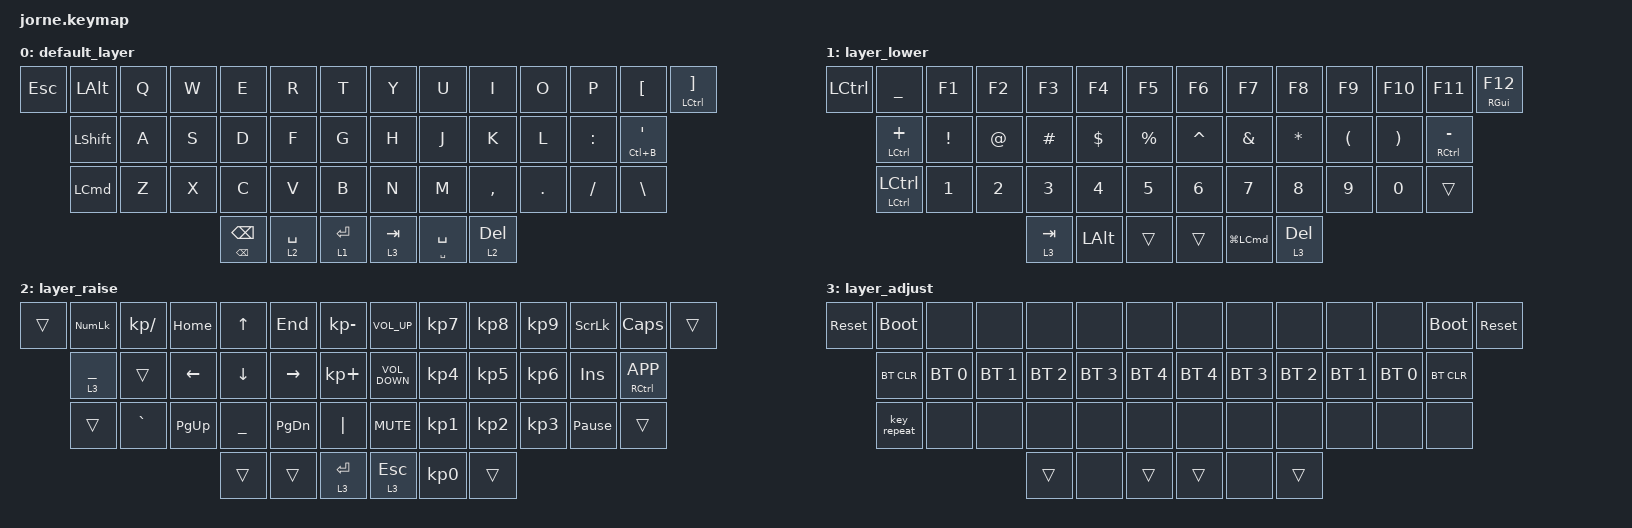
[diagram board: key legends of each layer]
/*
 * Copyright (c) 2020 The ZMK Contributors
 *
 * SPDX-License-Identifier: MIT
 */
/* THIS FILE WAS GENERATED!
 *
 * This file was generated automatically. You may or may not want to
 * edit it directly.
 */

#include <behaviors.dtsi>
#include <dt-bindings/zmk/bt.h>
#include <dt-bindings/zmk/keys.h>

/ {
    keymap {
        compatible = "zmk,keymap";

        default_layer {
            bindings = <
&kp ESC  &kp LEFT_ALT      &kp Q  &kp W  &kp E                    &kp R        &kp T      &kp Y      &kp U            &kp I      &kp O    &kp P      &kp LBKT       &mt LEFT_CONTROL RBKT
         &kp LEFT_SHIFT    &kp A  &kp S  &kp D                    &kp F        &kp G      &kp H      &kp J            &kp K      &kp L    &kp COLON  &mt LC(B) SQT
         &kp LEFT_COMMAND  &kp Z  &kp X  &kp C                    &kp V        &kp B      &kp N      &kp M            &kp COMMA  &kp DOT  &kp FSLH   &kp BSLH
                                         &mt BACKSPACE BACKSPACE  &lt 2 SPACE  &lt 1 RET  &lt 3 TAB  &mt SPACE SPACE  &lt 2 DEL
            >;
        };

        layer_lower {
            bindings = <
&kp LEFT_CONTROL  &kp UNDER        &kp F1    &kp F2  &kp F3     &kp F4        &kp F5     &kp F6     &kp F7                &kp F8     &kp F9    &kp F10   &kp F11          &mt RGUI F12
                  &mt LCTRL PLUS   &kp EXCL  &kp AT  &kp HASH   &kp DLLR      &kp PRCNT  &kp CARET  &kp AMPS              &kp STAR   &kp LPAR  &kp RPAR  &mt RCTRL MINUS
                  &mt LCTRL LCTRL  &kp N1    &kp N2  &kp N3     &kp N4        &kp N5     &kp N6     &kp N7                &kp N8     &kp N9    &kp N0    &trans
                                                     &lt 3 TAB  &kp LEFT_ALT  &trans     &trans     &kp LG(LEFT_COMMAND)  &lt 3 DEL
            >;
        };

        layer_raise {
            bindings = <
&trans  &kp KP_NUM   &kp KP_SLASH  &kp HOME        &kp UP_ARROW    &kp END          &kp KP_MINUS  &kp C_VOL_UP       &kp KP_NUMBER_7  &kp KP_NUMBER_8  &kp KP_NUMBER_9  &kp SLCK         &kp CAPS         &trans
        &lt 3 UNDER  &trans        &kp LEFT_ARROW  &kp DOWN_ARROW  &kp RIGHT_ARROW  &kp KP_PLUS   &kp C_VOLUME_DOWN  &kp KP_NUMBER_4  &kp KP_NUMBER_5  &kp KP_NUMBER_6  &kp INS          &mt RCTRL K_APP
        &trans       &kp GRAVE     &kp PAGE_UP     &kp UNDERSCORE  &kp PAGE_DOWN    &kp PIPE      &kp C_MUTE         &kp KP_NUMBER_1  &kp KP_NUMBER_2  &kp KP_NUMBER_3  &kp PAUSE_BREAK  &trans
                                                   &trans          &trans           &lt 3 RET     &lt 3 ESC          &kp KP_NUMBER_0  &trans
            >;
        };

        layer_adjust {
            bindings = <
&sys_reset  &bootloader  &none         &none         &none         &none         &none         &none         &none         &none         &none         &none         &bootloader  &sys_reset
            &bt BT_CLR   &bt BT_SEL 0  &bt BT_SEL 1  &bt BT_SEL 2  &bt BT_SEL 3  &bt BT_SEL 4  &bt BT_SEL 4  &bt BT_SEL 3  &bt BT_SEL 2  &bt BT_SEL 1  &bt BT_SEL 0  &bt BT_CLR
            &key_repeat  &none         &none         &none         &none         &none         &none         &none         &none         &none         &none         &none
                                                     &trans        &none         &trans        &trans        &none         &trans
            >;
        };
    };
};
